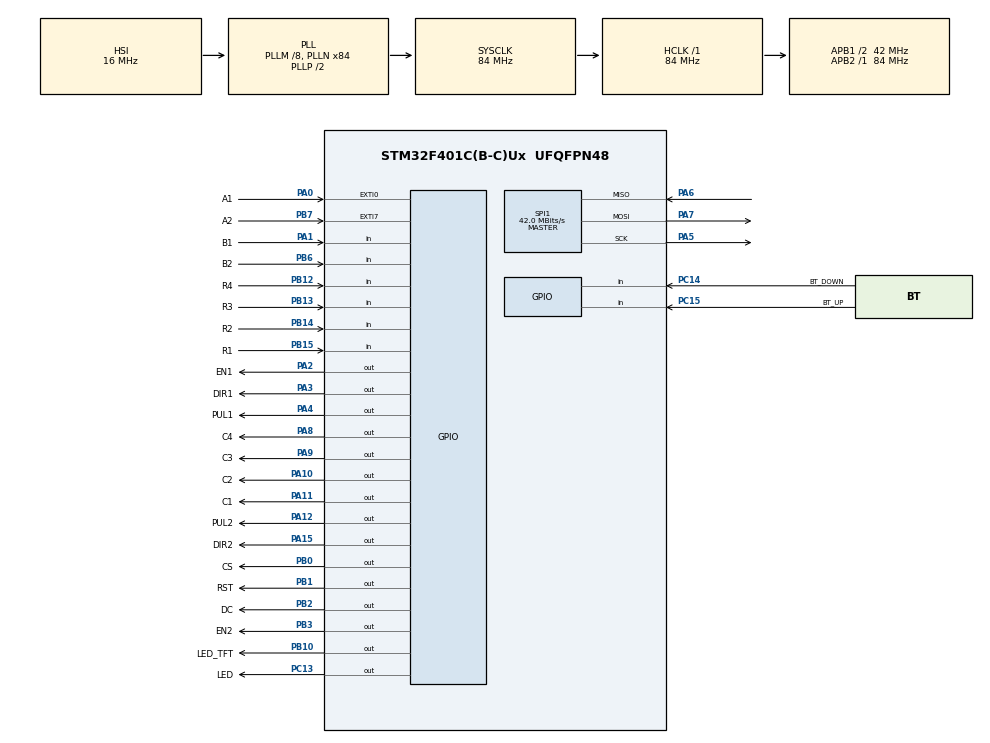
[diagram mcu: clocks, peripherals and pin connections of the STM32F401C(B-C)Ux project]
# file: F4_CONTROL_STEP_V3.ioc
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Dma.Request0=SPI1_TX
Dma.SPI1_TX.0.Direction=DMA_MEMORY_TO_PERIPH
Dma.SPI1_TX.0.FIFOMode=DMA_FIFOMODE_DISABLE
Dma.SPI1_TX.0.Instance=DMA2_Stream3
Dma.SPI1_TX.0.MemDataAlignment=DMA_MDATAALIGN_BYTE
Dma.SPI1_TX.0.MemInc=DMA_MINC_ENABLE
Dma.SPI1_TX.0.Mode=DMA_NORMAL
Dma.SPI1_TX.0.PeriphDataAlignment=DMA_PDATAALIGN_BYTE
Dma.SPI1_TX.0.PeriphInc=DMA_PINC_DISABLE
Dma.SPI1_TX.0.Priority=DMA_PRIORITY_LOW
Mcu.Family=STM32F4
Mcu.Name=STM32F401C(B-C)Ux
Mcu.Package=UFQFPN48
NVIC.DMA2_Stream3_IRQn=true\:0\:0\:false\:false\:true\:false\:true\:true
NVIC.EXTI9_5_IRQn=true\:0\:0\:false\:false\:true\:true\:true\:true
NVIC.PriorityGroup=NVIC_PRIORITYGROUP_4
NVIC.SPI1_IRQn=true\:0\:0\:false\:false\:true\:true\:true\:true
NVIC.TIM1_TRG_COM_TIM11_IRQn=true\:0\:0\:false\:false\:true\:true\:true\:true
NVIC.TIM1_UP_TIM10_IRQn=true\:0\:0\:false\:false\:true\:true\:true\:true
PA0-WKUP.GPIO_Label=A1
PA0-WKUP.GPIO_ModeDefaultEXTI=GPIO_MODE_IT_FALLING
PA0-WKUP.GPIO_PuPd=GPIO_PULLUP
PA0-WKUP.Signal=GPXTI0
PA1.GPIO_Label=B1
PA1.Signal=GPIO_Input
PA10.GPIO_Label=C2
PA10.Signal=GPIO_Output
PA11.GPIO_Label=C1
PA11.Signal=GPIO_Output
PA12.GPIO_Label=PUL2
PA12.GPIO_Speed=GPIO_SPEED_FREQ_VERY_HIGH
PA12.Signal=GPIO_Output
PA13.Mode=Serial_Wire
PA13.Signal=SYS_JTMS-SWDIO
PA14.Mode=Serial_Wire
PA14.Signal=SYS_JTCK-SWCLK
PA15.GPIO_Label=DIR2
PA15.Signal=GPIO_Output
PA2.GPIO_Label=EN1
PA2.Signal=GPIO_Output
PA3.GPIO_Label=DIR1
PA3.Signal=GPIO_Output
PA4.GPIO_Label=PUL1
PA4.GPIO_Speed=GPIO_SPEED_FREQ_VERY_HIGH
PA4.Signal=GPIO_Output
PA5.Mode=Full_Duplex_Master
PA5.Signal=SPI1_SCK
PA6.Mode=Full_Duplex_Master
PA6.Signal=SPI1_MISO
PA7.Mode=Full_Duplex_Master
PA7.Signal=SPI1_MOSI
PA8.GPIO_Label=C4
PA8.Signal=GPIO_Output
PA9.GPIO_Label=C3
PA9.Signal=GPIO_Output
PB0.GPIO_Label=CS
PB0.Signal=GPIO_Output
PB1.GPIO_Label=RST
PB1.Signal=GPIO_Output
PB10.GPIO_Label=LED_TFT
PB10.Signal=GPIO_Output
PB12.GPIO_Label=R4
PB12.Signal=GPIO_Input
PB13.GPIO_Label=R3
PB13.Signal=GPIO_Input
PB14.GPIO_Label=R2
PB14.Signal=GPIO_Input
PB15.GPIO_Label=R1
PB15.Signal=GPIO_Input
PB2.GPIO_Label=DC
PB2.Signal=GPIO_Output
PB3.GPIO_Label=EN2
PB3.Signal=GPIO_Output
PB6.GPIO_Label=B2
PB6.Signal=GPIO_Input
PB7.GPIO_Label=A2
PB7.GPIO_ModeDefaultEXTI=GPIO_MODE_IT_FALLING
PB7.GPIO_PuPd=GPIO_PULLUP
PB7.Signal=GPXTI7
PC13-ANTI_TAMP.GPIO_Label=LED
PC13-ANTI_TAMP.Signal=GPIO_Output
PC14-OSC32_IN.GPIO_Label=BT_DOWN
PC14-OSC32_IN.Signal=GPIO_Input
PC15-OSC32_OUT.GPIO_Label=BT_UP
PC15-OSC32_OUT.Signal=GPIO_Input
PH0\ -\ OSC_IN.Mode=HSE-External-Oscillator
PH0\ -\ OSC_IN.Signal=RCC_OSC_IN
PH1\ -\ OSC_OUT.Mode=HSE-External-Oscillator
PH1\ -\ OSC_OUT.Signal=RCC_OSC_OUT
ProjectManager.HeapSize=0x200
ProjectManager.StackSize=0x400
ProjectManager.TargetToolchain=MDK-ARM V5
RCC.48MHZClocksFreq_Value=42000000
RCC.AHBFreq_Value=84000000
RCC.APB1CLKDivider=RCC_HCLK_DIV2
RCC.APB1Freq_Value=42000000
RCC.APB1TimFreq_Value=84000000
RCC.APB2Freq_Value=84000000
RCC.APB2TimFreq_Value=84000000
RCC.CortexFreq_Value=84000000
RCC.HCLKFreq_Value=84000000
RCC.HSE_VALUE=25000000
RCC.HSI_VALUE=16000000
RCC.LSE_VALUE=32768
RCC.PLLM=8
RCC.PLLN=84
RCC.SYSCLKFreq_VALUE=84000000
RCC.SYSCLKSource=RCC_SYSCLKSOURCE_PLLCLK
RCC.VCOOutputFreq_Value=168000000
SPI1.CalculateBaudRate=42.0 MBits/s
SPI1.Direction=SPI_DIRECTION_2LINES
SPI1.Mode=SPI_MODE_MASTER
SPI1.VirtualType=VM_MASTER
TIM10.Period=70-1
TIM10.Prescaler=84-1
TIM11.Period=2000-1
TIM11.Prescaler=84-1
VP_TIM10_VS_ClockSourceINT.Mode=Enable_Timer
VP_TIM11_VS_ClockSourceINT.Mode=Enable_Timer
board=custom

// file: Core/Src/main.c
/* USER CODE BEGIN Header */
/**
  ******************************************************************************
  * @file           : main.c
  * @brief          : Main program body
  ******************************************************************************
  * @attention
  *
  * Copyright (c) 2024 STMicroelectronics.
  * All rights reserved.
  *
  * This software is licensed under terms that can be found in the LICENSE file
  * in the root directory of this software component.
  * If no LICENSE file comes with this software, it is provided AS-IS.
  *
  ******************************************************************************
  */
/* USER CODE END Header */
#include "main.h"
#include "dma.h"
#include "spi.h"
#include "tim.h"
#include "gpio.h"

/* USER CODE BEGIN Includes */
#include "config.h"
#include "keypad_user.h"
#include "lcd_user.h"
#include "stepPosition.h"
/* USER CODE END Includes */

/* USER CODE BEGIN PV */
static volatile uint32_t pulse_step;
/* USER CODE END PV */

void SystemClock_Config(void);

/* USER CODE BEGIN 0 */
void HAL_TIM_PeriodElapsedCallback(TIM_HandleTypeDef *htim)
{
	if (htim->Instance == htim11.Instance)		// handler keypad
	{
		keypad_handler();
	}
	if (htim->Instance == htim10.Instance)
	{
		step_position_handler();
		/*
		{
			if (user_data.user_setting.loop_mode_state == true)
			{
				if (pulseStep == 0)
				{
					pulseStep = dataUserInput.dataSetup.pulse;
				}
			}
		}
		{
			if (screenCurr != SETUP_SCREEN)
			{
				dataUserInput.dataSetup.LoopMode = false;
			}
		}
		if (pulseStep != 0)
		{
			isRun = true;
			pulseStep--;
			HAL_GPIO_TogglePin(PUL2_GPIO_Port, PUL2_Pin);
		}
		else if (pulseStep == 0)
		{
			isRun = false;
		}
		*/
	}

}
void HAL_GPIO_EXTI_Callback(uint16_t GPIO_Pin)
{
	/*
	if (isRun == false)
	{
		if (GPIO_Pin == A1_Pin)
		{
			handleInterruptEncoder(GPIO_Pin, A1_GPIO_Port, A1_Pin, B1_GPIO_Port, B1_Pin);
		}
		else if (GPIO_Pin == A2_Pin)
		{
			handleInterruptEncoder(GPIO_Pin, A2_GPIO_Port, A2_Pin, B2_GPIO_Port, B2_Pin);
		}
	}
	*/
}
/* USER CODE END 0 */

int main(void)
{

  /* MCU Configuration--------------------------------------------------------*/

  /* Reset of all peripherals, Initializes the Flash interface and the Systick. */
  HAL_Init();

  /* Configure the system clock */
  SystemClock_Config();

  /* Initialize all configured peripherals */
  MX_GPIO_Init();
  MX_DMA_Init();
  MX_SPI1_Init();
  MX_TIM11_Init();
  MX_TIM10_Init();
  /* USER CODE BEGIN 2 */
	keypad_init();
	lcd_init();
	step_position_ctor(&step_position, PUL2_GPIO_Port, PUL2_Pin, DIR2_GPIO_Port, DIR2_Pin);

	HAL_TIM_Base_Start_IT(&htim10);
	setPulse(&step_position.inforStep, 3200);

	InfrStep_t const *step[] = {&step_position.inforStep};
  /* USER CODE END 2 */

  /* Infinite loop */
  /* USER CODE BEGIN WHILE */
  while (1)
  {
	  set_position(&step_position, 1);
	  move_to(step, sizeof(step) / sizeof(step[0]));
    /* USER CODE END WHILE */

  }
}

void SystemClock_Config(void)
{
  RCC_OscInitTypeDef RCC_OscInitStruct = {0};
  RCC_ClkInitTypeDef RCC_ClkInitStruct = {0};

  /** Configure the main internal regulator output voltage
  */
  __HAL_RCC_PWR_CLK_ENABLE();
  __HAL_PWR_VOLTAGESCALING_CONFIG(PWR_REGULATOR_VOLTAGE_SCALE2);

  /** Initializes the RCC Oscillators according to the specified parameters
  * in the RCC_OscInitTypeDef structure.
  */
  RCC_OscInitStruct.OscillatorType = RCC_OSCILLATORTYPE_HSI;
  RCC_OscInitStruct.HSIState = RCC_HSI_ON;
  RCC_OscInitStruct.HSICalibrationValue = RCC_HSICALIBRATION_DEFAULT;
  RCC_OscInitStruct.PLL.PLLState = RCC_PLL_ON;
  RCC_OscInitStruct.PLL.PLLSource = RCC_PLLSOURCE_HSI;
  RCC_OscInitStruct.PLL.PLLM = 8;
  RCC_OscInitStruct.PLL.PLLN = 84;
  RCC_OscInitStruct.PLL.PLLP = RCC_PLLP_DIV2;
  RCC_OscInitStruct.PLL.PLLQ = 4;
  if (HAL_RCC_OscConfig(&RCC_OscInitStruct) != HAL_OK)
  {
    Error_Handler();
  }

  /** Initializes the CPU, AHB and APB buses clocks
  */
  RCC_ClkInitStruct.ClockType = RCC_CLOCKTYPE_HCLK|RCC_CLOCKTYPE_SYSCLK
                              |RCC_CLOCKTYPE_PCLK1|RCC_CLOCKTYPE_PCLK2;
  RCC_ClkInitStruct.SYSCLKSource = RCC_SYSCLKSOURCE_PLLCLK;
  RCC_ClkInitStruct.AHBCLKDivider = RCC_SYSCLK_DIV1;
  RCC_ClkInitStruct.APB1CLKDivider = RCC_HCLK_DIV2;
  RCC_ClkInitStruct.APB2CLKDivider = RCC_HCLK_DIV1;

  if (HAL_RCC_ClockConfig(&RCC_ClkInitStruct, FLASH_LATENCY_2) != HAL_OK)
  {
    Error_Handler();
  }
}

void Error_Handler(void)
{
  __disable_irq();
  while (1)
  {
  }
}
